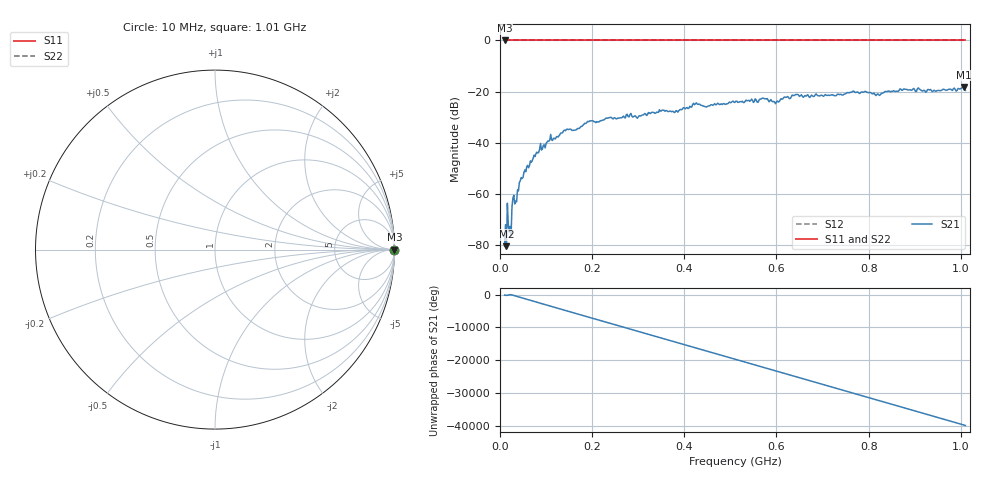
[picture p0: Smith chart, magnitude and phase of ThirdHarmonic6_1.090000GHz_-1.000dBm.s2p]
! 8/16/2025 10:07:44 AM
! C:\ANRITSUVNA\TEMP\TEMP.S2P
! CHANNEL.1
! TR.MEASUREMENT
! RAW.DATA
! RF.CORRECTION.OFF
! AVERAGING.OFF
! IF.BANDWIDTH: 5KHZ
! SWEEPTYPE:  FREQ.SWEEP(Linear)
! Reference Plane Port Info
! PORT:  PORT1  PORT2
! DISTANCE:  0  m  0  m
! TIME:  0  s  0  s
! PHASE.OFFSET:  0  deg.  0  deg.
! LOSS:  0  dB  0  dB
! REF.LOSS:  0  dB  0  dB
! REF.FREQ:  0  Hz  0  Hz
! Power Info
! POWER:  -20  dBm  -20  dBm
! EFF.POWER:  -20  dBm  -20  dBm
! SOURCE.ATTEN:  0  dB  0  dB
! TEST.ATTEN:  0  dB  0  dB
# GHZ S RI R 50.0
! FREQ.GHZ  S11RE  S11IM  S21RE  S21IM  S12RE  S12IM  S22RE  S22IM
!; PortSelection: Port_12
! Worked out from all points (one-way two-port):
!   501 points, 10 MHz to 1.01 GHz, reference 50 ohm
!   highest |S21| = -18.26 dB at 1.006 GHz (marker M1); lowest = -80.6 dB at 14 MHz (marker M2)
!   lowest |S11| = 0.0 dB at 10 MHz (marker M3)
!   |S11| at or under -10 dB: nowhere
!   |S22| runs from 0.0 to 0.0 dB; largest |S21 - S12| = 1.1
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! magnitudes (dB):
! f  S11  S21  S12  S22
! 10 MHz  0.0  -80.5  0.0  0.0
! 14 MHz  0.0  -80.6  0.0  0.0
! 22 MHz  0.0  -72.8  0.0  0.0
! 30 MHz  0.0  -60.6  0.0  0.0
! 36 MHz  0.0  -63.2  0.0  0.0
! 46 MHz  0.0  -53.7  0.0  0.0
! 84 MHz  0.0  -43.8  0.0  0.0
! 142 MHz  0.0  -35.3  0.0  0.0
! 178 MHz  0.0  -33.6  0.0  0.0
! 194 MHz  0.0  -31.6  0.0  0.0
! 344 MHz  0.0  -28.1  0.0  0.0
! 382 MHz  0.0  -27.5  0.0  0.0
! 422 MHz  0.0  -25.2  0.0  0.0
! 448 MHz  0.0  -26.1  0.0  0.0
! 510 MHz  0.0  -24.3  0.0  0.0
! 572 MHz  0.0  -22.6  0.0  0.0
! 600 MHz  0.0  -24.0  0.0  0.0
! 638 MHz  0.0  -21.6  0.0  0.0
! 678 MHz  0.0  -21.7  0.0  0.0
! 844 MHz  0.0  -19.8  0.0  0.0
! 1.006 GHz  0.0  -18.3  0.0  0.0
! 1.01 GHz  0.0  -19.6  0.0  0.0
